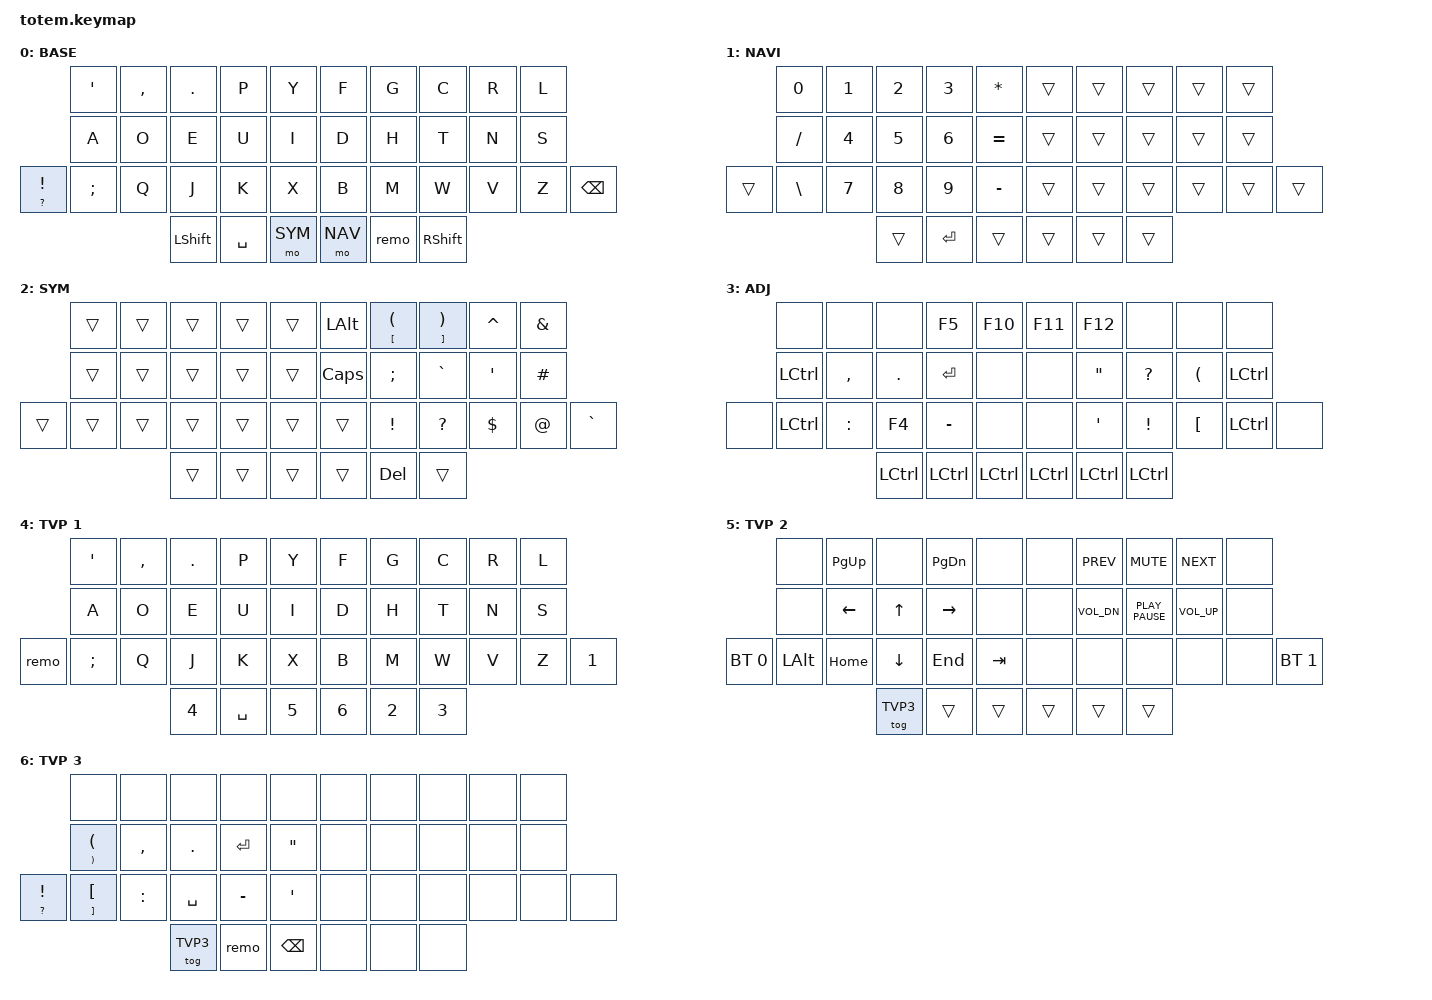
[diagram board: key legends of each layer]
//
//                                                        ▀▀▀▀▀     ▀▀▀▀▀          ▀▀█▀▀
//                                                        ▄▀▀▀▄  ▄  ▄▀▀▀▄  ▄  ▄▀▀▀▄  █  ▄▀▀▀▄
//                                                        █   █  █  █   █  █  █   █  █  █   █
//                                                         ▀▀▀   █   ▀▀▀   █   ▀▀▀   ▀   ▀▀▀
//                                                               █      ▄▄▄█▄▄▄    █   █  
//                                                               ▀      █  █  █     █▄█
//                                                             ▀▀▀▀▀    █  █  █      ▀
//                                                                      ▀  ▀  ▀
//
// ▄▄▄▄▄▄▄▄▄▄▄▄▄▄▄▄▄▄▄▄▄▄▄▄▄▄▄▄▄▄▄▄▄▄▄▄▄▄▄▄▄▄▄▄▄▄▄▄▄▄▄▄▄▄▄▄▄▄▄▄▄▄▄▄▄▄▄▄▄▄▄▄▄▄▄▄▄▄▄▄▄▄▄▄▄▄▄▄▄▄▄▄▄▄▄▄▄▄▄▄▄▄▄▄▄▄▄▄▄▄▄▄▄▄▄▄▄▄▄▄▄▄▄▄▄▄▄▄▄▄▄▄▄▄▄▄▄▄▄▄▄▄▄▄▄▄▄▄▄
       

#include <behaviors.dtsi>
#include <dt-bindings/zmk/keys.h>
#include <dt-bindings/zmk/bt.h>
#include <dt-bindings/zmk/outputs.h>

#define BASE 0
#define NAV  1
#define SYM  2
#define ADJ  3
#define TVP1 4
#define TVP2 5
#define TVP3 6

&mt {
  quick-tap-ms = <100>;
  global-quick-tap;
  flavor = "tap-preferred";
  tapping-term-ms = <170>;
};

/ {
     combos {
            compatible = "zmk,combos";
            combo_esc {
                timeout-ms = <50>;
                key-positions = <0 4>;
                bindings = <&to BASE>;
            };
            combo_tvp {
                timeout-ms = <100>;
                key-positions = <32 33 34>;
                bindings = <&tog TVP2>;
            };
            combo_pass {
                timeout-ms = <100>;
                key-positions = <10 11 12>;
                bindings = <&pass>;
            };
            combo_inadj {
                timeout-ms = <100>;
                key-positions = <35 36 37>;
                layers = <0 1 2 4 5 6>;
                bindings = <&to ADJ>;
            };
            combo_outadj {
                timeout-ms = <100>;
                key-positions = <32 33 34>;
                layers = <3>;
                bindings = <&to BASE>;
            };
            combo_f1 {
                timeout-ms = <70>;
                key-positions = <1 3>;
                bindings = <&kp F1>;
            };
            combo_jumpdown {
                timeout-ms = <70>;
                key-positions = <3 4>;
                bindings = <&kp F3>;
            };
            combo_f2 {
                timeout-ms = <100>;
                key-positions = <0 1 2>;
                bindings = <&kp F2>;
            };
            combo_exst {
                timeout-ms = <80>;
                key-positions = <4 34>;
                layers = <4 5>;
                bindings = <&outsteno>;
            };
            combo_entst {
                timeout-ms = <80>;
                key-positions = <5 35>;
                layers = <0 1 2 4 5>;
                bindings = <&intosteno>;
            };
            combo_btclr {
                timeout-ms = <80>;
                key-positions = <0 9 10 19>;
                layers = <5>;
                bindings = <&bt BT_CLR>;
            };
    };

    macros {
        pass: pass {
            label = "password";
            compatible = "zmk,behavior-macro";
            #binding-cells = <0>;
            wait-ms = <40>;
            tap-ms = <40>;
            bindings
                = <&macro_tap &kp LEFT &kp RIGHT &kp LEFT &kp RIGHT &kp LEFT &kp RIGHT &kp LEFT &kp RIGHT>
                , <&kp EXCL>
                , <&macro_press &kp LSHFT>
                , <&macro_tap &kp R> 
                , <&macro_release &kp LSHFT>
                , <&macro_tap &kp I &kp D &kp I &kp C &kp U &kp L &kp O &kp U &kp S> 
                , <&macro_press &kp LSHFT>
                , <&macro_tap &kp E> 
                , <&macro_release &kp LSHFT>
                , <&macro_tap &kp L &kp E &kp G &kp A &kp N &kp Z &kp A &kp RET>
                ;
        };
        remo: remo {
            label = "removelast";
            compatible = "zmk,behavior-macro";
            #binding-cells = <0>;
            wait-ms = <40>;
            tap-ms = <40>;
            bindings
                = <&macro_press &kp LCTRL>
                , <&macro_tap &kp BSPC> 
                , <&macro_release &kp LCTRL>
                ;
        };
        intosteno: intosteno {
            label = "IntoStenography";
            compatible = "zmk,behavior-macro";
            #binding-cells = <0>;
            wait-ms = <40>;
            tap-ms = <40>;
            bindings
                = <&to TVP1>
                , <&macro_tap &kp F6>
                ;
        };
        outsteno: outsteno {
            label = "OutOfStenography";
            compatible = "zmk,behavior-macro";
            #binding-cells = <0>;
            wait-ms = <40>;
            tap-ms = <40>;
            bindings
                = <&to BASE>
                , <&macro_tap &kp F7>
                ;
        };
    };

        keymap {
                compatible = "zmk,keymap";
// ▄▄▄▄▄▄▄▄▄▄▄▄▄▄▄▄▄▄▄▄▄▄▄▄▄▄▄▄▄▄▄▄▄▄▄▄▄▄▄▄▄▄▄▄▄▄▄▄▄▄▄▄▄▄▄▄▄▄▄▄▄▄▄▄▄▄▄▄▄▄▄▄▄▄▄▄▄▄▄▄▄▄▄▄▄▄▄▄▄▄▄▄▄▄▄▄▄▄▄▄▄▄▄▄▄▄▄▄▄▄▄▄▄▄▄▄▄▄▄▄▄▄▄▄▄▄▄▄▄▄▄▄▄▄▄▄▄▄▄▄▄▄▄▄▄▄▄▄▄

                base_layer {            
// ┏━━━━━━━━━━━━━━━━━━━━━━━━━━━━━━━━━━━━━━━┓
label= "BASE"                              ;
// ┗━━━━━━━━━━━━━━━━━━━━━━━━━━━━━━━━━━━━━━━┛
//             ┏━━━━━━━━━━━┳━━━━━━━━━━━┳━━━━━━━━━━━┳━━━━━━━━━━━┳━━━━━━━━━━━┓   ┏━━━━━━━━━━━┳━━━━━━━━━━━┳━━━━━━━━━━━┳━━━━━━━━━━━┳━━━━━━━━━━━┓
//             ┃     '     ┃     ,     ┃     .     ┃     P     ┃     Y     ┃   ┃     F     ┃     G     ┃     C     ┃     R     ┃     L     ┃
//             ┣━━━━━━━━━━━╋━━━━━━━━━━━╋━━━━━━━━━━━╋━━━━━━━━━━━╋━━━━━━━━━━━┫   ┣━━━━━━━━━━━╋━━━━━━━━━━━╋━━━━━━━━━━━╋━━━━━━━━━━━╋━━━━━━━━━━━┫
//             ┃     A     ┃     O     ┃     E     ┃     U     ┃     I     ┃   ┃     D     ┃     H     ┃     T     ┃     N     ┃     L     ┃
// ┏━━━━━━━━━━━╋━━━━━━━━━━━╋━━━━━━━━━━━╋━━━━━━━━━━━╋━━━━━━━━━━━╋━━━━━━━━━━━┫   ┣━━━━━━━━━━━╋━━━━━━━━━━━╋━━━━━━━━━━━╋━━━━━━━━━━━╋━━━━━━━━━━━╋━━━━━━━━━━━┓
// ┃     !     ┃     ;     ┃     Q     ┃     J     ┃     K     ┃     X     ┃   ┃     B     ┃     M     ┃     W     ┃     V     ┃     Z     ┃     ?     ┃
// ┗━━━━━━━━━━━┻━━━━━━━━━━━┻━━━━━━━━━━━╋━━━━━━━━━━━╋━━━━━━━━━━━╋━━━━━━━━━━━┫   ┣━━━━━━━━━━━╋━━━━━━━━━━━╋━━━━━━━━━━━╋━━━━━━━━━━━┻━━━━━━━━━━━┻━━━━━━━━━━━┛
//                                     ┃   LSHFT   ┃   SPACE   ┃    Sym    ┃   ┃    Nav    ┃   BSPC    ┃   RSHFT   ┃
//                                     ┗━━━━━━━━━━━┻━━━━━━━━━━━┻━━━━━━━━━━━┛   ┗━━━━━━━━━━━┻━━━━━━━━━━━┻━━━━━━━━━━━┛
 bindings = <
// ╷           ╷           ╷           ╷           ╷           ╷           ╷   ╷           ╷           ╷           ╷           ╷           ╷           ╷

                &kp APOS    &kp COMMA   &kp DOT     &kp P       &kp Y           &kp F       &kp G       &kp C       &kp R       &kp L
                &kp A       &kp O       &kp E       &kp U       &kp I           &kp D       &kp H       &kp T       &kp N       &kp S
 &mt QMARK EXCL &kp SEMI    &kp Q       &kp J       &kp K       &kp X           &kp B       &kp M       &kp W       &kp V       &kp Z       &kp BSPC 
                                        &kp LSHFT   &kp SPACE   &mo SYM         &mo NAV     &remo       &kp RSHFT   
                        >;
                };

// ▄▄▄▄▄▄▄▄▄▄▄▄▄▄▄▄▄▄▄▄▄▄▄▄▄▄▄▄▄▄▄▄▄▄▄▄▄▄▄▄▄▄▄▄▄▄▄▄▄▄▄▄▄▄▄▄▄▄▄▄▄▄▄▄▄▄▄▄▄▄▄▄▄▄▄▄▄▄▄▄▄▄▄▄▄▄▄▄▄▄▄▄▄▄▄▄▄▄▄▄▄▄▄▄▄▄▄▄▄▄▄▄▄▄▄▄▄▄▄▄▄▄▄▄▄▄▄▄▄▄▄▄▄▄▄▄▄▄▄▄▄▄▄▄▄▄▄▄▄


                nav_layer {
// ┏━━━━━━━━━━━━━━━━━━━━━━━━━━━━━━━━━━━━━━━┓
label= "NAVI"                               ;
// ┗━━━━━━━━━━━━━━━━━━━━━━━━━━━━━━━━━━━━━━━┛
//             ┏━━━━━━━━━━━┳━━━━━━━━━━━┳━━━━━━━━━━━┳━━━━━━━━━━━┳━━━━━━━━━━━┓   ┏━━━━━━━━━━━┳━━━━━━━━━━━┳━━━━━━━━━━━┳━━━━━━━━━━━┳━━━━━━━━━━━┓
//             ┃           ┃           ┃           ┃           ┃           ┃   ┃           ┃           ┃           ┃           ┃           ┃
//             ┣━━━━━━━━━━━╋━━━━━━━━━━━╋━━━━━━━━━━━╋━━━━━━━━━━━╋━━━━━━━━━━━┫   ┣━━━━━━━━━━━╋━━━━━━━━━━━╋━━━━━━━━━━━╋━━━━━━━━━━━╋━━━━━━━━━━━┫
//             ┃           ┃           ┃           ┃           ┃           ┃   ┃           ┃           ┃           ┃           ┃           ┃
// ┏━━━━━━━━━━━╋━━━━━━━━━━━╋━━━━━━━━━━━╋━━━━━━━━━━━╋━━━━━━━━━━━╋━━━━━━━━━━━┫   ┣━━━━━━━━━━━╋━━━━━━━━━━━╋━━━━━━━━━━━╋━━━━━━━━━━━╋━━━━━━━━━━━╋━━━━━━━━━━━┓
// ┃           ┃           ┃           ┃           ┃           ┃           ┃   ┃           ┃           ┃           ┃           ┃           ┃           ┃
// ┗━━━━━━━━━━━┻━━━━━━━━━━━┻━━━━━━━━━━━╋━━━━━━━━━━━╋━━━━━━━━━━━╋━━━━━━━━━━━┫   ┣━━━━━━━━━━━╋━━━━━━━━━━━╋━━━━━━━━━━━╋━━━━━━━━━━━┻━━━━━━━━━━━┻━━━━━━━━━━━┛
//                                     ┃           ┃           ┃           ┃   ┃           ┃           ┃           ┃
//                                     ┗━━━━━━━━━━━┻━━━━━━━━━━━┻━━━━━━━━━━━┛   ┗━━━━━━━━━━━┻━━━━━━━━━━━┻━━━━━━━━━━━┛
 bindings = <
// ╷           ╷           ╷           ╷           ╷           ╷           ╷   ╷           ╷           ╷           ╷           ╷           ╷           ╷

                &kp N0      &kp N1     &kp N2       &kp N3      &kp STAR        &trans      &trans      &trans      &trans      &trans      
                &kp FSLH    &kp N4     &kp N5       &kp N6      &kp EQUAL       &trans      &trans      &trans      &trans      &trans      
    &trans      &kp BSLH    &kp N7     &kp N8       &kp N9      &kp MINUS       &trans      &trans      &trans      &trans      &trans      &trans       
                                        &trans      &kp RET     &trans          &trans      &trans      &trans      
                        >;
                };

// ▄▄▄▄▄▄▄▄▄▄▄▄▄▄▄▄▄▄▄▄▄▄▄▄▄▄▄▄▄▄▄▄▄▄▄▄▄▄▄▄▄▄▄▄▄▄▄▄▄▄▄▄▄▄▄▄▄▄▄▄▄▄▄▄▄▄▄▄▄▄▄▄▄▄▄▄▄▄▄▄▄▄▄▄▄▄▄▄▄▄▄▄▄▄▄▄▄▄▄▄▄▄▄▄▄▄▄▄▄▄▄▄▄▄▄▄▄▄▄▄▄▄▄▄▄▄▄▄▄▄▄▄▄▄▄▄▄▄▄▄▄▄▄▄▄▄▄▄▄


                sim_layer {
// ┏━━━━━━━━━━━━━━━━━━━━━━━━━━━━━━━━━━━━━━━┓
label= "SYM"                               ;
// ┗━━━━━━━━━━━━━━━━━━━━━━━━━━━━━━━━━━━━━━━┛
//             ┏━━━━━━━━━━━┳━━━━━━━━━━━┳━━━━━━━━━━━┳━━━━━━━━━━━┳━━━━━━━━━━━┓   ┏━━━━━━━━━━━┳━━━━━━━━━━━┳━━━━━━━━━━━┳━━━━━━━━━━━┳━━━━━━━━━━━┓
//             ┃           ┃           ┃           ┃           ┃           ┃   ┃           ┃           ┃           ┃           ┃           ┃
//             ┣━━━━━━━━━━━╋━━━━━━━━━━━╋━━━━━━━━━━━╋━━━━━━━━━━━╋━━━━━━━━━━━┫   ┣━━━━━━━━━━━╋━━━━━━━━━━━╋━━━━━━━━━━━╋━━━━━━━━━━━╋━━━━━━━━━━━┫
//             ┃           ┃           ┃           ┃           ┃           ┃   ┃           ┃           ┃           ┃           ┃           ┃
// ┏━━━━━━━━━━━╋━━━━━━━━━━━╋━━━━━━━━━━━╋━━━━━━━━━━━╋━━━━━━━━━━━╋━━━━━━━━━━━┫   ┣━━━━━━━━━━━╋━━━━━━━━━━━╋━━━━━━━━━━━╋━━━━━━━━━━━╋━━━━━━━━━━━╋━━━━━━━━━━━┓
// ┃           ┃           ┃           ┃           ┃           ┃           ┃   ┃           ┃           ┃           ┃           ┃           ┃           ┃
// ┗━━━━━━━━━━━┻━━━━━━━━━━━┻━━━━━━━━━━━╋━━━━━━━━━━━╋━━━━━━━━━━━╋━━━━━━━━━━━┫   ┣━━━━━━━━━━━╋━━━━━━━━━━━╋━━━━━━━━━━━╋━━━━━━━━━━━┻━━━━━━━━━━━┻━━━━━━━━━━━┛
//                                     ┃           ┃           ┃           ┃   ┃           ┃           ┃           ┃
//                                     ┗━━━━━━━━━━━┻━━━━━━━━━━━┻━━━━━━━━━━━┛   ┗━━━━━━━━━━━┻━━━━━━━━━━━┻━━━━━━━━━━━┛
 bindings = <
// ╷           ╷           ╷           ╷           ╷           ╷           ╷   ╷           ╷           ╷           ╷           ╷           ╷           ╷

                &trans      &trans      &trans      &trans      &trans          &kp LALT &mt LBKT LPAR &mt RBKT RPAR &kp CARET  &kp AMPS
                &trans      &trans      &trans      &trans      &trans          &kp CAPS    &kp SEMI    &kp GRAVE   &kp APOS    &kp HASH
    &trans      &trans      &trans      &trans      &trans      &trans          &trans      &kp EXCL    &kp QMARK   &kp DLLR    &kp AT      &kp GRAVE
                                        &trans      &trans      &trans          &trans      &kp DEL     &trans
                        >;
                };

// ▄▄▄▄▄▄▄▄▄▄▄▄▄▄▄▄▄▄▄▄▄▄▄▄▄▄▄▄▄▄▄▄▄▄▄▄▄▄▄▄▄▄▄▄▄▄▄▄▄▄▄▄▄▄▄▄▄▄▄▄▄▄▄▄▄▄▄▄▄▄▄▄▄▄▄▄▄▄▄▄▄▄▄▄▄▄▄▄▄▄▄▄▄▄▄▄▄▄▄▄▄▄▄▄▄▄▄▄▄▄▄▄▄▄▄▄▄▄▄▄▄▄▄▄▄▄▄▄▄▄▄▄▄▄▄▄▄▄▄▄▄▄▄▄▄▄▄▄▄


                adjust_layer {
// ┏━━━━━━━━━━━━━━━━━━━━━━━━━━━━━━━━━━━━━━━┓
label= "ADJ"                               ;
// ┗━━━━━━━━━━━━━━━━━━━━━━━━━━━━━━━━━━━━━━━┛
//             ┏━━━━━━━━━━━┳━━━━━━━━━━━┳━━━━━━━━━━━┳━━━━━━━━━━━┳━━━━━━━━━━━┓   ┏━━━━━━━━━━━┳━━━━━━━━━━━┳━━━━━━━━━━━┳━━━━━━━━━━━┳━━━━━━━━━━━┓
//             ┃           ┃           ┃           ┃           ┃           ┃   ┃           ┃           ┃           ┃           ┃           ┃
//             ┣━━━━━━━━━━━╋━━━━━━━━━━━╋━━━━━━━━━━━╋━━━━━━━━━━━╋━━━━━━━━━━━┫   ┣━━━━━━━━━━━╋━━━━━━━━━━━╋━━━━━━━━━━━╋━━━━━━━━━━━╋━━━━━━━━━━━┫
//             ┃           ┃           ┃           ┃           ┃           ┃   ┃           ┃           ┃           ┃           ┃           ┃
// ┏━━━━━━━━━━━╋━━━━━━━━━━━╋━━━━━━━━━━━╋━━━━━━━━━━━╋━━━━━━━━━━━╋━━━━━━━━━━━┫   ┣━━━━━━━━━━━╋━━━━━━━━━━━╋━━━━━━━━━━━╋━━━━━━━━━━━╋━━━━━━━━━━━╋━━━━━━━━━━━┓
// ┃           ┃           ┃           ┃           ┃           ┃           ┃   ┃           ┃           ┃           ┃           ┃           ┃           ┃
// ┗━━━━━━━━━━━┻━━━━━━━━━━━┻━━━━━━━━━━━╋━━━━━━━━━━━╋━━━━━━━━━━━╋━━━━━━━━━━━┫   ┣━━━━━━━━━━━╋━━━━━━━━━━━╋━━━━━━━━━━━╋━━━━━━━━━━━┻━━━━━━━━━━━┻━━━━━━━━━━━┛
//                                     ┃           ┃           ┃           ┃   ┃           ┃           ┃           ┃
//                                     ┗━━━━━━━━━━━┻━━━━━━━━━━━┻━━━━━━━━━━━┛   ┗━━━━━━━━━━━┻━━━━━━━━━━━┻━━━━━━━━━━━┛
 bindings = <
// ╷           ╷           ╷           ╷           ╷           ╷           ╷   ╷           ╷           ╷           ╷           ╷           ╷           ╷

                &none       &none       &none       &kp F5      &kp F10         &kp F11     &kp F12     &none       &none       &none 
                &kp LCTRL   &kp COMMA   &kp DOT     &kp RET     &none           &none       &kp DQT     &kp QMARK   &kp LPAR    &kp LCTRL   
    &none       &kp LCTRL   &kp COLON   &kp F4      &kp MINUS   &none           &none       &kp SQT     &kp EXCL    &kp LBKT    &kp LCTRL   &none 
                                        &kp LCTRL   &kp LCTRL   &kp LCTRL       &kp LCTRL   &kp LCTRL   &kp LCTRL   
                        >;
                };

// ▄▄▄▄▄▄▄▄▄▄▄▄▄▄▄▄▄▄▄▄▄▄▄▄▄▄▄▄▄▄▄▄▄▄▄▄▄▄▄▄▄▄▄▄▄▄▄▄▄▄▄▄▄▄▄▄▄▄▄▄▄▄▄▄▄▄▄▄▄▄▄▄▄▄▄▄▄▄▄▄▄▄▄▄▄▄▄▄▄▄▄▄▄▄▄▄▄▄▄▄▄▄▄▄▄▄▄▄▄▄▄▄▄▄▄▄▄▄▄▄▄▄▄▄▄▄▄▄▄▄▄▄▄▄▄▄▄▄▄▄▄▄▄▄▄▄▄▄▄


                tvp1_layer {
// ┏━━━━━━━━━━━━━━━━━━━━━━━━━━━━━━━━━━━━━━━┓
label= "TVP 1"                             ;
// ┗━━━━━━━━━━━━━━━━━━━━━━━━━━━━━━━━━━━━━━━┛
//             ┏━━━━━━━━━━━┳━━━━━━━━━━━┳━━━━━━━━━━━┳━━━━━━━━━━━┳━━━━━━━━━━━┓   ┏━━━━━━━━━━━┳━━━━━━━━━━━┳━━━━━━━━━━━┳━━━━━━━━━━━┳━━━━━━━━━━━┓
//             ┃           ┃           ┃           ┃           ┃           ┃   ┃           ┃           ┃           ┃           ┃           ┃
//             ┣━━━━━━━━━━━╋━━━━━━━━━━━╋━━━━━━━━━━━╋━━━━━━━━━━━╋━━━━━━━━━━━┫   ┣━━━━━━━━━━━╋━━━━━━━━━━━╋━━━━━━━━━━━╋━━━━━━━━━━━╋━━━━━━━━━━━┫
//             ┃           ┃           ┃           ┃           ┃           ┃   ┃           ┃           ┃           ┃           ┃           ┃
// ┏━━━━━━━━━━━╋━━━━━━━━━━━╋━━━━━━━━━━━╋━━━━━━━━━━━╋━━━━━━━━━━━╋━━━━━━━━━━━┫   ┣━━━━━━━━━━━╋━━━━━━━━━━━╋━━━━━━━━━━━╋━━━━━━━━━━━╋━━━━━━━━━━━╋━━━━━━━━━━━┓
// ┃           ┃           ┃           ┃           ┃           ┃           ┃   ┃           ┃           ┃           ┃           ┃           ┃           ┃
// ┗━━━━━━━━━━━┻━━━━━━━━━━━┻━━━━━━━━━━━╋━━━━━━━━━━━╋━━━━━━━━━━━╋━━━━━━━━━━━┫   ┣━━━━━━━━━━━╋━━━━━━━━━━━╋━━━━━━━━━━━╋━━━━━━━━━━━┻━━━━━━━━━━━┻━━━━━━━━━━━┛
//                                     ┃           ┃           ┃           ┃   ┃           ┃           ┃           ┃
//                                     ┗━━━━━━━━━━━┻━━━━━━━━━━━┻━━━━━━━━━━━┛   ┗━━━━━━━━━━━┻━━━━━━━━━━━┻━━━━━━━━━━━┛
 bindings = <
// ╷           ╷           ╷           ╷           ╷           ╷           ╷   ╷           ╷           ╷           ╷           ╷           ╷           ╷

                &kp APOS    &kp COMMA   &kp DOT     &kp P       &kp Y           &kp F       &kp G       &kp C       &kp R       &kp L
                &kp A       &kp O       &kp E       &kp U       &kp I           &kp D       &kp H       &kp T       &kp N       &kp S
    &remo       &kp SEMI    &kp Q       &kp J       &kp K       &kp X           &kp B       &kp M       &kp W       &kp V       &kp Z       &kp N1 
                                        &kp N4      &kp SPACE   &kp N5          &kp N6     &kp N2      &kp N3   
                        >;
                };

// ▄▄▄▄▄▄▄▄▄▄▄▄▄▄▄▄▄▄▄▄▄▄▄▄▄▄▄▄▄▄▄▄▄▄▄▄▄▄▄▄▄▄▄▄▄▄▄▄▄▄▄▄▄▄▄▄▄▄▄▄▄▄▄▄▄▄▄▄▄▄▄▄▄▄▄▄▄▄▄▄▄▄▄▄▄▄▄▄▄▄▄▄▄▄▄▄▄▄▄▄▄▄▄▄▄▄▄▄▄▄▄▄▄▄▄▄▄▄▄▄▄▄▄▄▄▄▄▄▄▄▄▄▄▄▄▄▄▄▄▄▄▄▄▄▄▄▄▄▄


                tvp2_layer {
// ┏━━━━━━━━━━━━━━━━━━━━━━━━━━━━━━━━━━━━━━━┓
label= "TVP 2"                             ;
// ┗━━━━━━━━━━━━━━━━━━━━━━━━━━━━━━━━━━━━━━━┛
//             ┏━━━━━━━━━━━┳━━━━━━━━━━━┳━━━━━━━━━━━┳━━━━━━━━━━━┳━━━━━━━━━━━┓   ┏━━━━━━━━━━━┳━━━━━━━━━━━┳━━━━━━━━━━━┳━━━━━━━━━━━┳━━━━━━━━━━━┓
//             ┃           ┃           ┃           ┃           ┃           ┃   ┃           ┃           ┃           ┃           ┃           ┃
//             ┣━━━━━━━━━━━╋━━━━━━━━━━━╋━━━━━━━━━━━╋━━━━━━━━━━━╋━━━━━━━━━━━┫   ┣━━━━━━━━━━━╋━━━━━━━━━━━╋━━━━━━━━━━━╋━━━━━━━━━━━╋━━━━━━━━━━━┫
//             ┃           ┃           ┃           ┃           ┃           ┃   ┃           ┃           ┃           ┃           ┃           ┃
// ┏━━━━━━━━━━━╋━━━━━━━━━━━╋━━━━━━━━━━━╋━━━━━━━━━━━╋━━━━━━━━━━━╋━━━━━━━━━━━┫   ┣━━━━━━━━━━━╋━━━━━━━━━━━╋━━━━━━━━━━━╋━━━━━━━━━━━╋━━━━━━━━━━━╋━━━━━━━━━━━┓
// ┃           ┃           ┃           ┃           ┃           ┃           ┃   ┃           ┃           ┃           ┃           ┃           ┃           ┃
// ┗━━━━━━━━━━━┻━━━━━━━━━━━┻━━━━━━━━━━━╋━━━━━━━━━━━╋━━━━━━━━━━━╋━━━━━━━━━━━┫   ┣━━━━━━━━━━━╋━━━━━━━━━━━╋━━━━━━━━━━━╋━━━━━━━━━━━┻━━━━━━━━━━━┻━━━━━━━━━━━┛
//                                     ┃           ┃           ┃           ┃   ┃           ┃           ┃           ┃
//                                     ┗━━━━━━━━━━━┻━━━━━━━━━━━┻━━━━━━━━━━━┛   ┗━━━━━━━━━━━┻━━━━━━━━━━━┻━━━━━━━━━━━┛
 bindings = <
// ╷           ╷           ╷           ╷           ╷           ╷           ╷   ╷           ╷           ╷           ╷           ╷           ╷           ╷

                &none       &kp PG_UP   &none       &kp PG_DN   &none           &none       &kp K_PREV  &kp K_MUTE  &kp K_NEXT  &none 
                &none       &kp LEFT    &kp UP      &kp RIGHT   &none           &none  &kp K_VOL_DN &kp K_PLAY_PAUSE &kp K_VOL_UP &none 
   &bt BT_SEL 0 &kp LALT    &kp HOME    &kp DOWN    &kp END     &kp TAB         &none       &none       &none       &none       &none       &bt BT_SEL 1
                                        &tog TVP3   &trans      &trans          &trans      &trans      &trans
                        >;
                };

// ▄▄▄▄▄▄▄▄▄▄▄▄▄▄▄▄▄▄▄▄▄▄▄▄▄▄▄▄▄▄▄▄▄▄▄▄▄▄▄▄▄▄▄▄▄▄▄▄▄▄▄▄▄▄▄▄▄▄▄▄▄▄▄▄▄▄▄▄▄▄▄▄▄▄▄▄▄▄▄▄▄▄▄▄▄▄▄▄▄▄▄▄▄▄▄▄▄▄▄▄▄▄▄▄▄▄▄▄▄▄▄▄▄▄▄▄▄▄▄▄▄▄▄▄▄▄▄▄▄▄▄▄▄▄▄▄▄▄▄▄▄▄▄▄▄▄▄▄▄

                tvp3_layer {
// ┏━━━━━━━━━━━━━━━━━━━━━━━━━━━━━━━━━━━━━━━┓
label= "TVP 3"                             ;
// ┗━━━━━━━━━━━━━━━━━━━━━━━━━━━━━━━━━━━━━━━┛
//             ┏━━━━━━━━━━━┳━━━━━━━━━━━┳━━━━━━━━━━━┳━━━━━━━━━━━┳━━━━━━━━━━━┓   ┏━━━━━━━━━━━┳━━━━━━━━━━━┳━━━━━━━━━━━┳━━━━━━━━━━━┳━━━━━━━━━━━┓
//             ┃           ┃           ┃           ┃           ┃           ┃   ┃           ┃           ┃           ┃           ┃           ┃
//             ┣━━━━━━━━━━━╋━━━━━━━━━━━╋━━━━━━━━━━━╋━━━━━━━━━━━╋━━━━━━━━━━━┫   ┣━━━━━━━━━━━╋━━━━━━━━━━━╋━━━━━━━━━━━╋━━━━━━━━━━━╋━━━━━━━━━━━┫
//             ┃           ┃           ┃           ┃           ┃           ┃   ┃           ┃           ┃           ┃           ┃           ┃
// ┏━━━━━━━━━━━╋━━━━━━━━━━━╋━━━━━━━━━━━╋━━━━━━━━━━━╋━━━━━━━━━━━╋━━━━━━━━━━━┫   ┣━━━━━━━━━━━╋━━━━━━━━━━━╋━━━━━━━━━━━╋━━━━━━━━━━━╋━━━━━━━━━━━╋━━━━━━━━━━━┓
// ┃           ┃           ┃           ┃           ┃           ┃           ┃   ┃           ┃           ┃           ┃           ┃           ┃           ┃
// ┗━━━━━━━━━━━┻━━━━━━━━━━━┻━━━━━━━━━━━╋━━━━━━━━━━━╋━━━━━━━━━━━╋━━━━━━━━━━━┫   ┣━━━━━━━━━━━╋━━━━━━━━━━━╋━━━━━━━━━━━╋━━━━━━━━━━━┻━━━━━━━━━━━┻━━━━━━━━━━━┛
//                                     ┃           ┃           ┃           ┃   ┃           ┃           ┃           ┃
//                                     ┗━━━━━━━━━━━┻━━━━━━━━━━━┻━━━━━━━━━━━┛   ┗━━━━━━━━━━━┻━━━━━━━━━━━┻━━━━━━━━━━━┛
 bindings = <
// ╷           ╷           ╷           ╷           ╷           ╷           ╷   ╷           ╷           ╷           ╷           ╷           ╷           ╷

                &none       &none       &none       &none       &none           &none       &none       &none       &none       &none 
              &mt RPAR LPAR &kp COMMA   &kp DOT     &kp RET     &kp DQT         &none       &none       &none       &none       &none       
 &mt QMARK EXCL &mt RBKT LBKT &kp COLON &kp SPACE   &kp MINUS   &kp SQT         &none       &none       &none       &none       &none       &none       
                                        &tog TVP3   &remo       &kp BSPC        &none       &none       &none       
                        >;
                };

        };
};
